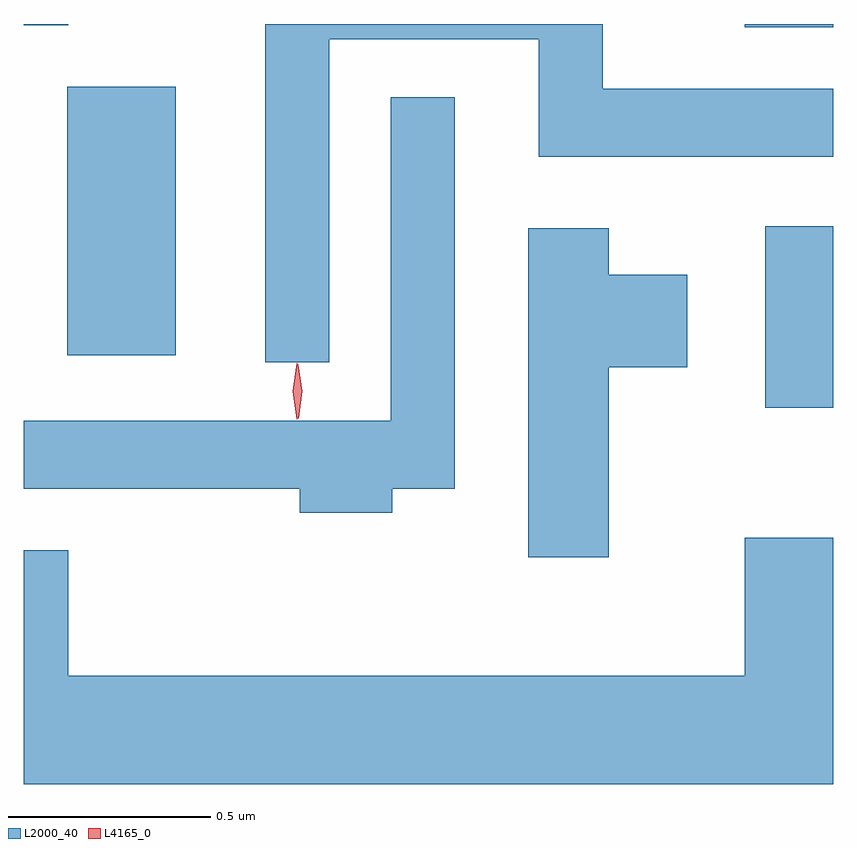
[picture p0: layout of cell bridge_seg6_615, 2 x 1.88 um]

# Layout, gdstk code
import gdstk
lib = gdstk.Library(unit=1e-6, precision=1e-09)
def R(c, l, rs):  # rectangles x0, y0, x1, y1
    for r in rs: c.add(gdstk.rectangle(r[:2], r[2:], *l))
def P(c, l, *ps):  # polygons
    for p in ps: c.add(gdstk.Polygon(p, *l))
L2000_40 = (2000, 40)
L4165_0 = (4165, 0)

bridge_seg6_615 = lib.new_cell('bridge_seg6_615')
R(bridge_seg6_615, L2000_40, [(471.921,1610.906,472.089,1611.354), (470.196,1611.036,470.464,1611.699), (471.871,1611.846,472.089,1611.854), (470.089,1611.851,470.199,1611.854)])
P(bridge_seg6_615, L2000_40, [(470.844,1611.816),(471.361,1611.816),(471.361,1611.526),(472.089,1611.526),(472.089,1611.694),(471.519,1611.694),(471.519,1611.854),(470.686,1611.854),(470.686,1611.018),(470.844,1611.018)],
  [(470.999,1610.706),(471.154,1610.706),(471.154,1611.673),(470.996,1611.673),(470.996,1610.874),(470.089,1610.874),(470.089,1610.706),(470.771,1610.706),(470.771,1610.646),(470.999,1610.646)],
  [(471.534,1611.006),(471.729,1611.006),(471.729,1611.234),(471.534,1611.234),(471.534,1611.349),(471.336,1611.349),(471.336,1610.536),(471.534,1610.536)],
  [(472.089,1610.584),(471.871,1610.584),(471.871,1610.244),(470.199,1610.244),(470.199,1610.554),(470.089,1610.554),(470.089,1609.976),(472.089,1609.976)])
P(bridge_seg6_615, L4165_0, [(470.764,1610.877),(470.764,1610.877),(470.754,1610.946),(470.764,1611.016),(470.764,1611.016),(470.765,1611.016),(470.774,1610.946),(470.765,1610.877)],
  [(470.767,1610.879),(470.767,1610.88),(470.757,1610.946),(470.766,1611.012),(470.767,1611.013),(470.767,1611.012),(470.777,1610.946),(470.768,1610.88)])

lib.write_gds('bridge_seg6_615.gds')
